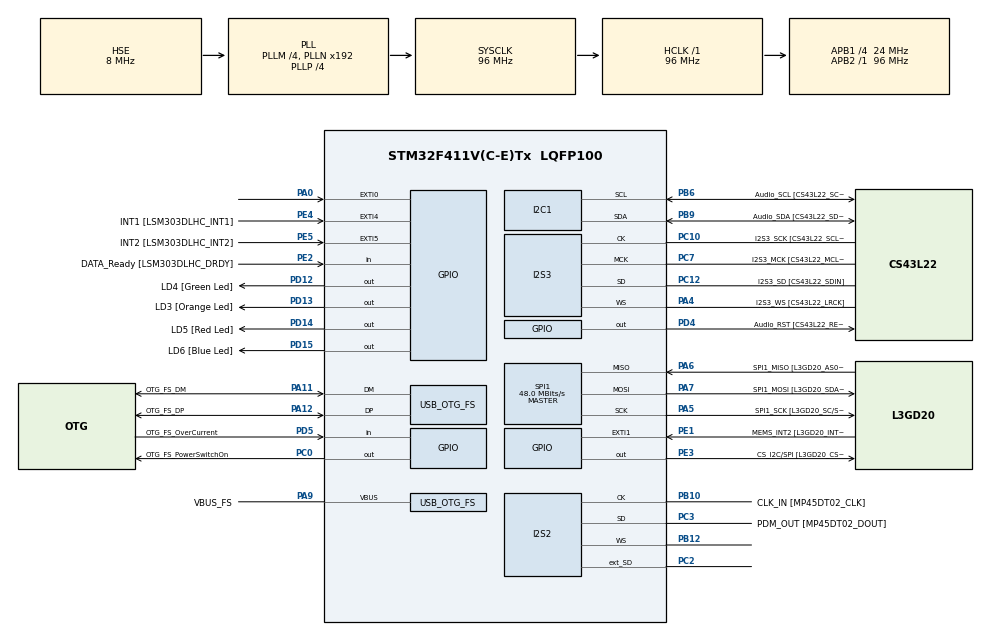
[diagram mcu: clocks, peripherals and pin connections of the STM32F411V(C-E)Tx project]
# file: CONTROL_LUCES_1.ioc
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I2S2.AudioFreq=I2S_AUDIOFREQ_96K
I2S2.ErrorAudioFreq=0.15 %
I2S2.FullDuplexMode=I2S_FULLDUPLEXMODE_ENABLE
I2S2.Instance=SPI$Index
I2S2.RealAudioFreq=96.153 KHz
I2S2.VirtualMode=I2S_MODE_MASTER
I2S3.AudioFreq=I2S_AUDIOFREQ_96K
I2S3.ErrorAudioFreq=-6.99 %
I2S3.FullDuplexMode=I2S_FULLDUPLEXMODE_DISABLE
I2S3.Instance=SPI$Index
I2S3.RealAudioFreq=89.285 KHz
I2S3.VirtualMode=I2S_MODE_MASTER
Mcu.Family=STM32F4
Mcu.Name=STM32F411V(C-E)Tx
Mcu.Package=LQFP100
NVIC.OTG_FS_IRQn=true\:0\:0\:false\:false\:true\:true\:true\:true
NVIC.PriorityGroup=NVIC_PRIORITYGROUP_0
PA0-WKUP.GPIO_ModeDefaultEXTI=GPIO_MODE_EVT_RISING
PA0-WKUP.Signal=GPXTI0
PA10.GPIO_Label=OTG_FS_ID
PA10.Signal=USB_OTG_FS_ID
PA11.GPIO_Label=OTG_FS_DM
PA11.Mode=Host_Only
PA11.Signal=USB_OTG_FS_DM
PA12.GPIO_Label=OTG_FS_DP
PA12.Mode=Host_Only
PA12.Signal=USB_OTG_FS_DP
PA13.GPIO_Label=SWDIO
PA13.Mode=Serial_Wire
PA13.Signal=SYS_JTMS-SWDIO
PA14.GPIO_Label=SWCLK
PA14.Mode=Serial_Wire
PA14.Signal=SYS_JTCK-SWCLK
PA4.GPIO_Label=I2S3_WS [CS43L22_LRCK]
PA4.GPIO_Mode=GPIO_MODE_AF_PP
PA4.GPIO_PuPd=GPIO_NOPULL
PA4.GPIO_Speed=GPIO_SPEED_FREQ_LOW
PA4.Mode=Half_Duplex_Master
PA4.Signal=I2S3_WS
PA5.GPIO_Label=SPI1_SCK [L3GD20_SC/SPC]
PA5.Mode=Full_Duplex_Master
PA5.Signal=SPI1_SCK
PA6.GPIO_Label=SPI1_MISO [L3GD20_AS0/SDO]
PA6.Mode=Full_Duplex_Master
PA6.Signal=SPI1_MISO
PA7.GPIO_Label=SPI1_MOSI [L3GD20_SDA/SDI/SDO]
PA7.Mode=Full_Duplex_Master
PA7.Signal=SPI1_MOSI
PA9.GPIO_Label=VBUS_FS
PA9.Mode=Activate_VBUS
PA9.Signal=USB_OTG_FS_VBUS
PB10.GPIO_Label=CLK_IN [MP45DT02_CLK]
PB10.Mode=Full_Duplex_Master
PB10.Signal=I2S2_CK
PB12.Mode=Full_Duplex_Master
PB12.Signal=I2S2_WS
PB3.GPIO_Label=SWO
PB3.Signal=SYS_JTDO-SWO
PB6.GPIO_Label=Audio_SCL [CS43L22_SCL]
PB6.GPIO_Mode=GPIO_MODE_AF_OD
PB6.GPIO_Pu=GPIO_PULLUP
PB6.GPIO_PuPd=GPIO_NOPULL
PB6.GPIO_Speed=GPIO_SPEED_FREQ_LOW
PB6.Mode=I2C
PB6.Signal=I2C1_SCL
PB9.GPIO_Label=Audio_SDA [CS43L22_SDA]
PB9.GPIO_Mode=GPIO_MODE_AF_OD
PB9.GPIO_Pu=GPIO_PULLUP
PB9.GPIO_PuPd=GPIO_NOPULL
PB9.GPIO_Speed=GPIO_SPEED_FREQ_LOW
PB9.Mode=I2C
PB9.Signal=I2C1_SDA
PC0.GPIO_Label=OTG_FS_PowerSwitchOn
PC0.PinState=GPIO_PIN_SET
PC0.Signal=GPIO_Output
PC10.GPIO_Label=I2S3_SCK [CS43L22_SCLK]
PC10.GPIO_Mode=GPIO_MODE_AF_PP
PC10.GPIO_PuPd=GPIO_NOPULL
PC10.GPIO_Speed=GPIO_SPEED_FREQ_LOW
PC10.Mode=Half_Duplex_Master
PC10.Signal=I2S3_CK
PC12.GPIO_Label=I2S3_SD [CS43L22_SDIN]
PC12.GPIO_Mode=GPIO_MODE_AF_PP
PC12.GPIO_PuPd=GPIO_NOPULL
PC12.GPIO_Speed=GPIO_SPEED_FREQ_LOW
PC12.Mode=Half_Duplex_Master
PC12.Signal=I2S3_SD
PC14-OSC32_IN.GPIO_Label=PC14-OSC32_IN
PC14-OSC32_IN.Mode=LSE-External-Oscillator
PC14-OSC32_IN.Signal=RCC_OSC32_IN
PC15-OSC32_OUT.GPIO_Label=PC15-OSC32_OUT
PC15-OSC32_OUT.Mode=LSE-External-Oscillator
PC15-OSC32_OUT.Signal=RCC_OSC32_OUT
PC2.Mode=Full_Duplex_Master
PC2.Signal=I2S2_ext_SD
PC3.GPIO_Label=PDM_OUT [MP45DT02_DOUT]
PC3.Mode=Full_Duplex_Master
PC3.Signal=I2S2_SD
PC7.GPIO_Label=I2S3_MCK [CS43L22_MCLK]
PC7.GPIO_Mode=GPIO_MODE_AF_PP
PC7.GPIO_PuPd=GPIO_NOPULL
PC7.GPIO_Speed=GPIO_SPEED_FREQ_LOW
PC7.Mode=Master_Clock_Activated
PC7.Signal=I2S3_MCK
PD12.GPIO_Label=LD4 [Green Led]
PD12.GPIO_PuPd=GPIO_NOPULL
PD12.GPIO_Speed=GPIO_SPEED_FREQ_LOW
PD12.Signal=GPIO_Output
PD13.GPIO_Label=LD3 [Orange Led]
PD13.GPIO_PuPd=GPIO_NOPULL
PD13.GPIO_Speed=GPIO_SPEED_FREQ_LOW
PD13.Signal=GPIO_Output
PD14.GPIO_Label=LD5 [Red Led]
PD14.GPIO_PuPd=GPIO_NOPULL
PD14.GPIO_Speed=GPIO_SPEED_FREQ_LOW
PD14.Signal=GPIO_Output
PD15.GPIO_Label=LD6 [Blue Led]
PD15.GPIO_PuPd=GPIO_NOPULL
PD15.GPIO_Speed=GPIO_SPEED_FREQ_LOW
PD15.Signal=GPIO_Output
PD4.GPIO_Label=Audio_RST [CS43L22_RESET]
PD4.Signal=GPIO_Output
PD5.GPIO_Label=OTG_FS_OverCurrent
PD5.Signal=GPIO_Input
PE1.GPIO_Label=MEMS_INT2 [L3GD20_INT2]
PE1.GPIO_ModeDefaultEXTI=GPIO_MODE_EVT_RISING
PE1.Signal=GPXTI1
PE2.GPIO_Label=DATA_Ready [LSM303DLHC_DRDY]
PE2.Signal=GPIO_Input
PE3.GPIO_Label=CS_I2C/SPI [L3GD20_CS_I2C/SPI]
PE3.Signal=GPIO_Output
PE4.GPIO_Label=INT1 [LSM303DLHC_INT1]
PE4.GPIO_ModeDefaultEXTI=GPIO_MODE_EVT_RISING
PE4.Signal=GPXTI4
PE5.GPIO_Label=INT2 [LSM303DLHC_INT2]
PE5.GPIO_ModeDefaultEXTI=GPIO_MODE_EVT_RISING
PE5.Signal=GPXTI5
PH0\ -\ OSC_IN.GPIO_Label=PH0-OSC_IN
PH0\ -\ OSC_IN.Mode=HSE-External-Clock-Source
PH0\ -\ OSC_IN.Signal=RCC_OSC_IN
PH1\ -\ OSC_OUT.GPIO_Label=PH1-OSC_OUT
PH1\ -\ OSC_OUT.Mode=HSE-External-Clock-Source
PH1\ -\ OSC_OUT.Signal=RCC_OSC_OUT
ProjectManager.HeapSize=0x200
ProjectManager.StackSize=0x400
ProjectManager.TargetToolchain=STM32CubeIDE
RCC.48MHZClocksFreq_Value=48000000
RCC.AHBFreq_Value=96000000
RCC.APB1CLKDivider=RCC_HCLK_DIV4
RCC.APB1Freq_Value=24000000
RCC.APB1TimFreq_Value=48000000
RCC.APB2Freq_Value=96000000
RCC.APB2TimFreq_Value=96000000
RCC.CortexFreq_Value=96000000
RCC.HCLKFreq_Value=96000000
RCC.HSE_VALUE=8000000
RCC.HSI_VALUE=16000000
RCC.PLLI2SM=5
RCC.PLLI2SN=200
RCC.PLLM=4
RCC.PLLP=RCC_PLLP_DIV4
RCC.PLLQ=8
RCC.SYSCLKFreq_VALUE=96000000
RCC.SYSCLKSource=RCC_SYSCLKSOURCE_PLLCLK
RCC.VCOOutputFreq_Value=384000000
SPI1.BaudRatePrescaler=SPI_BAUDRATEPRESCALER_2
SPI1.CalculateBaudRate=48.0 MBits/s
SPI1.Direction=SPI_DIRECTION_2LINES
SPI1.Mode=SPI_MODE_MASTER
SPI1.VirtualType=VM_MASTER
USB_HOST.BSP.number=1
USB_HOST.USBH_HandleTypeDef=hUsbHostFS
USB_HOST.VirtualModeFS=Cdc
USB_HOST0.BSP.STBoard=false
USB_HOST0.BSP.api=Unknown
USB_HOST0.BSP.instance=PC0
USB_HOST0.BSP.ip=GPIO
USB_HOST0.BSP.mode=Output
USB_HOST0.BSP.name=Drive_VBUS_FS
USB_HOST0.BSP.solution=PC0
USB_OTG_FS.VirtualMode=Host_Only
USB_OTG_FS.phy_itface=HCD_PHY_EMBEDDED
VP_USB_HOST_VS_USB_HOST_CDC_FS.Mode=CDC_FS
board=STM32F411E-DISCO

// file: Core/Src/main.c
/* USER CODE BEGIN Header */
/**
  ******************************************************************************
  * @file           : main.c
  * @brief          : Main program body
  ******************************************************************************
  * @attention
  *
  * Copyright (c) 2025 STMicroelectronics.
  * All rights reserved.
  *
  * This software is licensed under terms that can be found in the LICENSE file
  * in the root directory of this software component.
  * If no LICENSE file comes with this software, it is provided AS-IS.
  *
  ******************************************************************************
  */
/* USER CODE END Header */
#include "main.h"
#include "usb_host.h"

/* USER CODE BEGIN PD */
#define T_antirrebotes 300	//CONSTANTE PARA CIRCUITO ANTIRREBOTES
#define Umbral_light 100    //CONSTANTE PARA MEDIR LUMINOSIDAD
/* USER CODE END PD */

I2C_HandleTypeDef hi2c1;

I2S_HandleTypeDef hi2s2;
I2S_HandleTypeDef hi2s3;

SPI_HandleTypeDef hspi1;

/* USER CODE BEGIN PV */
uint32_t time;   //VARIABLE PARA TIEMPO ANTIRREBOTES
uint32_t light =0;	//VARIABLE QUE MUESTRA LUMINOSIDAD DETECTADA POR LDR

int sensor_light =0;	//VARIABLE CONTROL CUANDO SE ENCIENDE LA LUZ
int sw =0;     //VARIABLE QUE CONTROLA EL ESTADO DEL INTERRUPTOR

/* USER CODE END PV */

void SystemClock_Config(void);
void PeriphCommonClock_Config(void);
static void MX_GPIO_Init(void);
static void MX_I2C1_Init(void);
static void MX_I2S2_Init(void);
static void MX_I2S3_Init(void);
static void MX_SPI1_Init(void);
void MX_USB_HOST_Process(void);

/* USER CODE BEGIN 0 */
void HAL_GPIO_EXTI_Callback(uint16_t GPIO_Pin){
	if(HAL_GetTick() - tiempo > T_antirrebotes){
		if(GPIO_Pin == GPIO_PIN_6){
			if(sw == 0){
				sw ==1;
			}
			else{
			sw = 0;
			}
		tiempo =HAL_GetTick();
		}
	}
}

void HAL_ADC_ConvCPltCallback(ADC_HandleTypeDef *hadc){
	if(hadc-> Instance == ADC1){
		//DMA obtiene el valor devuelto por el convertidor
		if(light < Umbral_light && sensor_light == 0)
			sensor_light = 1;			//No hay luz, podemos encender el LED
		else if(luminosidad > Umbral_light && sensor_luz == 1)
			sensor_light = 0;			//Hay luz, no se enciende el LED
	}
	HAL_ADC_Start_DMA(&hadc1, &light, 1);
}
/* USER CODE END 0 */

int main(void)
{

  /* MCU Configuration--------------------------------------------------------*/

  /* Reset of all peripherals, Initializes the Flash interface and the Systick. */
  HAL_Init();

  /* Configure the system clock */
  SystemClock_Config();

  /* Configure the peripherals common clocks */
  PeriphCommonClock_Config();

  /* Initialize all configured peripherals */
  MX_GPIO_Init();
  MX_I2C1_Init();
  MX_I2S2_Init();
  MX_I2S3_Init();
  MX_SPI1_Init();
  MX_USB_HOST_Init();

  /* Infinite loop */
  while (1)
  {
    MX_USB_HOST_Process();

  }
}

void SystemClock_Config(void)
{
  RCC_OscInitTypeDef RCC_OscInitStruct = {0};
  RCC_ClkInitTypeDef RCC_ClkInitStruct = {0};

  /** Configure the main internal regulator output voltage
  */
  __HAL_RCC_PWR_CLK_ENABLE();
  __HAL_PWR_VOLTAGESCALING_CONFIG(PWR_REGULATOR_VOLTAGE_SCALE1);

  /** Initializes the RCC Oscillators according to the specified parameters
  * in the RCC_OscInitTypeDef structure.
  */
  RCC_OscInitStruct.OscillatorType = RCC_OSCILLATORTYPE_HSE;
  RCC_OscInitStruct.HSEState = RCC_HSE_BYPASS;
  RCC_OscInitStruct.PLL.PLLState = RCC_PLL_ON;
  RCC_OscInitStruct.PLL.PLLSource = RCC_PLLSOURCE_HSE;
  RCC_OscInitStruct.PLL.PLLM = 4;
  RCC_OscInitStruct.PLL.PLLN = 192;
  RCC_OscInitStruct.PLL.PLLP = RCC_PLLP_DIV4;
  RCC_OscInitStruct.PLL.PLLQ = 8;
  if (HAL_RCC_OscConfig(&RCC_OscInitStruct) != HAL_OK)
  {
    Error_Handler();
  }

  /** Initializes the CPU, AHB and APB buses clocks
  */
  RCC_ClkInitStruct.ClockType = RCC_CLOCKTYPE_HCLK|RCC_CLOCKTYPE_SYSCLK
                              |RCC_CLOCKTYPE_PCLK1|RCC_CLOCKTYPE_PCLK2;
  RCC_ClkInitStruct.SYSCLKSource = RCC_SYSCLKSOURCE_PLLCLK;
  RCC_ClkInitStruct.AHBCLKDivider = RCC_SYSCLK_DIV1;
  RCC_ClkInitStruct.APB1CLKDivider = RCC_HCLK_DIV4;
  RCC_ClkInitStruct.APB2CLKDivider = RCC_HCLK_DIV1;

  if (HAL_RCC_ClockConfig(&RCC_ClkInitStruct, FLASH_LATENCY_3) != HAL_OK)
  {
    Error_Handler();
  }
}

void PeriphCommonClock_Config(void)
{
  RCC_PeriphCLKInitTypeDef PeriphClkInitStruct = {0};

  /** Initializes the peripherals clock
  */
  PeriphClkInitStruct.PeriphClockSelection = RCC_PERIPHCLK_I2S;
  PeriphClkInitStruct.PLLI2S.PLLI2SN = 200;
  PeriphClkInitStruct.PLLI2S.PLLI2SM = 5;
  PeriphClkInitStruct.PLLI2S.PLLI2SR = 2;
  if (HAL_RCCEx_PeriphCLKConfig(&PeriphClkInitStruct) != HAL_OK)
  {
    Error_Handler();
  }
}

static void MX_I2C1_Init(void)
{

  hi2c1.Instance = I2C1;
  hi2c1.Init.ClockSpeed = 100000;
  hi2c1.Init.DutyCycle = I2C_DUTYCYCLE_2;
  hi2c1.Init.OwnAddress1 = 0;
  hi2c1.Init.AddressingMode = I2C_ADDRESSINGMODE_7BIT;
  hi2c1.Init.DualAddressMode = I2C_DUALADDRESS_DISABLE;
  hi2c1.Init.OwnAddress2 = 0;
  hi2c1.Init.GeneralCallMode = I2C_GENERALCALL_DISABLE;
  hi2c1.Init.NoStretchMode = I2C_NOSTRETCH_DISABLE;
  if (HAL_I2C_Init(&hi2c1) != HAL_OK)
  {
    Error_Handler();
  }

}

static void MX_I2S2_Init(void)
{

  hi2s2.Instance = SPI2;
  hi2s2.Init.Mode = I2S_MODE_MASTER_TX;
  hi2s2.Init.Standard = I2S_STANDARD_PHILIPS;
  hi2s2.Init.DataFormat = I2S_DATAFORMAT_16B;
  hi2s2.Init.MCLKOutput = I2S_MCLKOUTPUT_DISABLE;
  hi2s2.Init.AudioFreq = I2S_AUDIOFREQ_96K;
  hi2s2.Init.CPOL = I2S_CPOL_LOW;
  hi2s2.Init.ClockSource = I2S_CLOCK_PLL;
  hi2s2.Init.FullDuplexMode = I2S_FULLDUPLEXMODE_ENABLE;
  if (HAL_I2S_Init(&hi2s2) != HAL_OK)
  {
    Error_Handler();
  }

}

static void MX_I2S3_Init(void)
{

  hi2s3.Instance = SPI3;
  hi2s3.Init.Mode = I2S_MODE_MASTER_TX;
  hi2s3.Init.Standard = I2S_STANDARD_PHILIPS;
  hi2s3.Init.DataFormat = I2S_DATAFORMAT_16B;
  hi2s3.Init.MCLKOutput = I2S_MCLKOUTPUT_ENABLE;
  hi2s3.Init.AudioFreq = I2S_AUDIOFREQ_96K;
  hi2s3.Init.CPOL = I2S_CPOL_LOW;
  hi2s3.Init.ClockSource = I2S_CLOCK_PLL;
  hi2s3.Init.FullDuplexMode = I2S_FULLDUPLEXMODE_DISABLE;
  if (HAL_I2S_Init(&hi2s3) != HAL_OK)
  {
    Error_Handler();
  }

}

static void MX_SPI1_Init(void)
{

  /* SPI1 parameter configuration*/
  hspi1.Instance = SPI1;
  hspi1.Init.Mode = SPI_MODE_MASTER;
  hspi1.Init.Direction = SPI_DIRECTION_2LINES;
  hspi1.Init.DataSize = SPI_DATASIZE_8BIT;
  hspi1.Init.CLKPolarity = SPI_POLARITY_LOW;
  hspi1.Init.CLKPhase = SPI_PHASE_1EDGE;
  hspi1.Init.NSS = SPI_NSS_SOFT;
  hspi1.Init.BaudRatePrescaler = SPI_BAUDRATEPRESCALER_2;
  hspi1.Init.FirstBit = SPI_FIRSTBIT_MSB;
  hspi1.Init.TIMode = SPI_TIMODE_DISABLE;
  hspi1.Init.CRCCalculation = SPI_CRCCALCULATION_DISABLE;
  hspi1.Init.CRCPolynomial = 10;
  if (HAL_SPI_Init(&hspi1) != HAL_OK)
  {
    Error_Handler();
  }

}

static void MX_GPIO_Init(void)
{
  GPIO_InitTypeDef GPIO_InitStruct = {0};

  /* GPIO Ports Clock Enable */
  __HAL_RCC_GPIOE_CLK_ENABLE();
  __HAL_RCC_GPIOC_CLK_ENABLE();
  __HAL_RCC_GPIOH_CLK_ENABLE();
  __HAL_RCC_GPIOA_CLK_ENABLE();
  __HAL_RCC_GPIOB_CLK_ENABLE();
  __HAL_RCC_GPIOD_CLK_ENABLE();

  /*Configure GPIO pin Output Level */
  HAL_GPIO_WritePin(CS_I2C_SPI_GPIO_Port, CS_I2C_SPI_Pin, GPIO_PIN_RESET);

  /*Configure GPIO pin Output Level */
  HAL_GPIO_WritePin(OTG_FS_PowerSwitchOn_GPIO_Port, OTG_FS_PowerSwitchOn_Pin, GPIO_PIN_SET);

  /*Configure GPIO pin Output Level */
  HAL_GPIO_WritePin(GPIOD, LD4_Pin|LD3_Pin|LD5_Pin|LD6_Pin
                          |Audio_RST_Pin, GPIO_PIN_RESET);

  /*Configure GPIO pin : DATA_Ready_Pin */
  GPIO_InitStruct.Pin = DATA_Ready_Pin;
  GPIO_InitStruct.Mode = GPIO_MODE_INPUT;
  GPIO_InitStruct.Pull = GPIO_NOPULL;
  HAL_GPIO_Init(DATA_Ready_GPIO_Port, &GPIO_InitStruct);

  /*Configure GPIO pin : CS_I2C_SPI_Pin */
  GPIO_InitStruct.Pin = CS_I2C_SPI_Pin;
  GPIO_InitStruct.Mode = GPIO_MODE_OUTPUT_PP;
  GPIO_InitStruct.Pull = GPIO_NOPULL;
  GPIO_InitStruct.Speed = GPIO_SPEED_FREQ_LOW;
  HAL_GPIO_Init(CS_I2C_SPI_GPIO_Port, &GPIO_InitStruct);

  /*Configure GPIO pins : INT1_Pin INT2_Pin MEMS_INT2_Pin */
  GPIO_InitStruct.Pin = INT1_Pin|INT2_Pin|MEMS_INT2_Pin;
  GPIO_InitStruct.Mode = GPIO_MODE_EVT_RISING;
  GPIO_InitStruct.Pull = GPIO_NOPULL;
  HAL_GPIO_Init(GPIOE, &GPIO_InitStruct);

  /*Configure GPIO pin : OTG_FS_PowerSwitchOn_Pin */
  GPIO_InitStruct.Pin = OTG_FS_PowerSwitchOn_Pin;
  GPIO_InitStruct.Mode = GPIO_MODE_OUTPUT_PP;
  GPIO_InitStruct.Pull = GPIO_NOPULL;
  GPIO_InitStruct.Speed = GPIO_SPEED_FREQ_LOW;
  HAL_GPIO_Init(OTG_FS_PowerSwitchOn_GPIO_Port, &GPIO_InitStruct);

  /*Configure GPIO pin : PA0 */
  GPIO_InitStruct.Pin = GPIO_PIN_0;
  GPIO_InitStruct.Mode = GPIO_MODE_EVT_RISING;
  GPIO_InitStruct.Pull = GPIO_NOPULL;
  HAL_GPIO_Init(GPIOA, &GPIO_InitStruct);

  /*Configure GPIO pins : LD4_Pin LD3_Pin LD5_Pin LD6_Pin
                           Audio_RST_Pin */
  GPIO_InitStruct.Pin = LD4_Pin|LD3_Pin|LD5_Pin|LD6_Pin
                          |Audio_RST_Pin;
  GPIO_InitStruct.Mode = GPIO_MODE_OUTPUT_PP;
  GPIO_InitStruct.Pull = GPIO_NOPULL;
  GPIO_InitStruct.Speed = GPIO_SPEED_FREQ_LOW;
  HAL_GPIO_Init(GPIOD, &GPIO_InitStruct);

  /*Configure GPIO pin : OTG_FS_OverCurrent_Pin */
  GPIO_InitStruct.Pin = OTG_FS_OverCurrent_Pin;
  GPIO_InitStruct.Mode = GPIO_MODE_INPUT;
  GPIO_InitStruct.Pull = GPIO_NOPULL;
  HAL_GPIO_Init(OTG_FS_OverCurrent_GPIO_Port, &GPIO_InitStruct);

}

void Error_Handler(void)
{
  __disable_irq();
  while (1)
  {
  }
}
